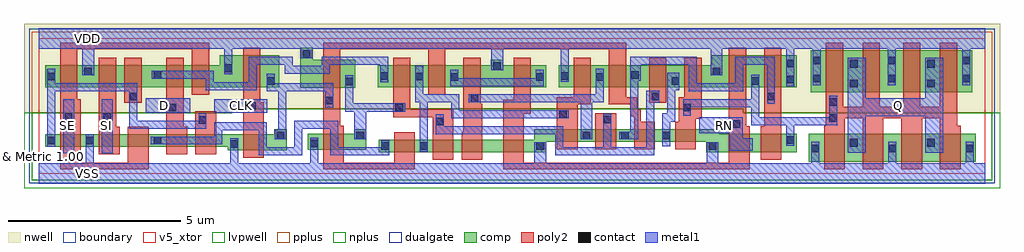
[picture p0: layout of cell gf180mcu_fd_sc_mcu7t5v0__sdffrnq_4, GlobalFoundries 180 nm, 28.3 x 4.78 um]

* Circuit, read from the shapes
.subckt gf180mcu_fd_sc_mcu7t5v0__sdffrnq_4 CLK D Q RN SE SI VDD VSS
XM1 VSS SE n1 VSUBS nfet_05v0 w=0.36u l=0.6u
XM2 n2 SI VSS VSUBS nfet_05v0 w=0.36u l=0.6u
XM3 n3 SE n2 VSUBS nfet_05v0 w=0.36u l=0.6u
XM4 n4 D n3 VSUBS nfet_05v0 w=0.36u l=0.6u
XM5 VSS n1 n4 VSUBS nfet_05v0 w=0.36u l=0.6u
XM6 n5 CLK VSS VSUBS nfet_05v0 w=0.465u l=0.6u
XM7 n6 n5 VSS VSUBS nfet_05v0 w=0.465u l=0.6u
XM8 n7 n5 n3 VSUBS nfet_05v0 w=0.36u l=0.6u
XM9 n8 n6 n7 VSUBS nfet_05v0 w=0.36u l=0.6u
XM10 n9 n10 n8 VSUBS nfet_05v0 w=0.36u l=0.6u
XM11 VSS RN n9 VSUBS nfet_05v0 w=0.36u l=0.6u
XM12 n10 n7 VSS VSUBS nfet_05v0 w=0.36u l=0.6u
XM13 n11 n6 n10 VSUBS nfet_05v0 w=0.36u l=0.6u
XM14 n12 n5 n11 VSUBS nfet_05v0 w=0.36u l=0.6u
XM15 VSS n13 n12 VSUBS nfet_05v0 w=0.36u l=0.6u
XM16 n14 RN VSS VSUBS nfet_05v0 w=0.54u l=0.6u
XM17 n13 n11 n14 VSUBS nfet_05v0 w=0.54u l=0.6u
XM18 Q n13 VSS VSUBS nfet_05v0 w=0.81u l=0.6u m=4
XM19 VDD SE n1 n15 pfet_05v0 w=0.63u l=0.5u
XM20 n16 SI VDD n15 pfet_05v0 w=0.63u l=0.5u
XM21 n17 n1 n16 n15 pfet_05v0 w=0.63u l=0.5u
XM22 n18 D n17 n15 pfet_05v0 w=0.63u l=0.5u
XM23 VDD SE n18 n15 pfet_05v0 w=0.63u l=0.5u
XM24 n5 CLK VDD n15 pfet_05v0 w=0.925u l=0.5u
XM25 n6 n5 VDD n15 pfet_05v0 w=0.815u l=0.5u
XM26 n7 n6 n17 n15 pfet_05v0 w=0.63u l=0.5u
XM27 n19 n5 n7 n15 pfet_05v0 w=0.63u l=0.5u
XM28 VDD n10 n19 n15 pfet_05v0 w=0.63u l=0.5u
XM29 n19 RN VDD n15 pfet_05v0 w=0.63u l=0.5u
XM30 n10 n7 VDD n15 pfet_05v0 w=0.63u l=0.5u
XM31 n11 n5 n10 n15 pfet_05v0 w=0.63u l=0.5u
XM32 n12 n6 n11 n15 pfet_05v0 w=0.63u l=0.5u
XM33 VDD n13 n12 n15 pfet_05v0 w=0.63u l=0.5u
XM34 n13 RN VDD n15 pfet_05v0 w=0.92u l=0.5u
XM35 VDD n11 n13 n15 pfet_05v0 w=0.92u l=0.5u
XM36 Q n13 VDD n15 pfet_05v0 w=1.215u l=0.5u m=4
.ends

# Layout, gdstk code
import gdstk
lib = gdstk.Library(unit=1e-6, precision=1e-09)
def R(c, l, rs):  # rectangles x0, y0, x1, y1
    for r in rs: c.add(gdstk.rectangle(r[:2], r[2:], *l))
def A(c, l, x, y, w, h, nx, ny, dx, dy):  # array of equal rectangles
    R(c, l, [(x+i*dx, y+j*dy, x+i*dx+w, y+j*dy+h) for i in range(nx) for j in range(ny)])
def P(c, l, *ps):  # polygons
    for p in ps: c.add(gdstk.Polygon(p, *l))
boundary = (0, 0)
nwell = (21, 0)
comp = (22, 0)
poly2 = (30, 0)
pplus = (31, 0)
nplus = (32, 0)
contact = (33, 0)
metal1 = (34, 0)
dualgate = (55, 0)
v5_xtor = (112, 1)
lvpwell = (204, 0)

gf180mcu_fd_sc_mcu7t5v0_ = lib.new_cell('gf180mcu_fd_sc_mcu7t5v0__sdffrnq_4')
R(gf180mcu_fd_sc_mcu7t5v0_, boundary, [(0,0,27.44,3.92)])
P(gf180mcu_fd_sc_mcu7t5v0_, nwell, [(-0.43,1.76),(-0.43,4.35),(27.87,4.35),(27.87,1.76),(20.425,1.76),(20.425,1.885),(5.605,1.885),(5.605,1.76)])
R(gf180mcu_fd_sc_mcu7t5v0_, comp, [(22.33,0.35,27.17,1.16), (22.38,2.36,27.07,3.575)])
P(gf180mcu_fd_sc_mcu7t5v0_, comp, [(0.18,2.51),(0.18,3.14),(5.24,3.14),(5.24,3.435),(6.965,3.435),(6.965,2.51)],
  [(5.485,0.675),(5.485,0.78),(0.18,0.78),(0.18,1.14),(6.825,1.14),(6.825,1.285),(7.185,1.285),(7.185,0.675)],
  [(7.58,2.485),(7.58,3.645),(7.94,3.645),(7.94,3.3),(9.18,3.3),(9.18,2.485)],
  [(7.8,0.695),(7.8,1.16),(9.14,1.16),(9.14,1.285),(9.5,1.285),(9.5,0.695)],
  [(9.83,2.51),(9.83,3.14),(13.11,3.14),(13.11,3.3),(13.47,3.3),(13.47,3.14),(14.71,3.14),(14.71,2.51)],
  [(9.86,0.62),(9.86,0.98),(14.36,0.98),(14.36,1.285),(19.71,1.285),(19.71,1.16),(21.97,1.16),(21.97,0.62),(19.35,0.62),(19.35,0.925),(14.72,0.925),(14.72,0.62)],
  [(15.07,2.51),(15.07,3.14),(19.515,3.14),(19.515,3.43),(21.97,3.43),(21.97,2.51)])
R(gf180mcu_fd_sc_mcu7t5v0_, poly2, [(4.54,0.56,5.14,1.805), (16.14,0.705,16.74,1.745), (2.48,2.05,2.98,3.36), (17.695,2.05,18.195,3.365)])
P(gf180mcu_fd_sc_mcu7t5v0_, poly2, [(1.74,0.56),(1.74,3.36),(2.24,3.36),(2.24,1.36),(2.34,1.36),(2.34,0.56)],
  [(3.7,0.56),(3.7,3.36),(4.2,3.36),(4.2,1.36),(4.3,1.36),(4.3,0.56)],
  [(0.62,0.12),(0.62,3.8),(4.94,3.8),(4.94,2.29),(4.44,2.29),(4.44,3.6),(1.12,3.6),(1.12,2.16),(1.22,2.16),(1.22,0.32),(2.58,0.32),(2.58,1.36),(3.18,1.36),(3.18,0.12)],
  [(5.925,0.455),(5.925,3.655),(6.425,3.655),(6.425,2.065),(6.525,2.065),(6.525,0.455)],
  [(11.42,0.4),(11.42,1.63),(10.27,1.63),(10.27,3.36),(10.77,3.36),(10.77,1.86),(12.02,1.86),(12.02,0.4)],
  [(12.26,0.4),(12.26,1.2),(12.31,1.2),(12.31,3.36),(12.81,3.36),(12.81,2.03),(12.86,2.03),(12.86,0.4)],
  [(15.02,0.705),(15.02,2.21),(15.51,2.21),(15.51,3.36),(16.01,3.36),(16.01,2.01),(15.62,2.01),(15.62,0.705)],
  [(8.24,0.12),(8.24,3.8),(17.03,3.8),(17.03,2.21),(17.345,2.21),(17.345,1.86),(17.46,1.86),(17.46,1.505),(17.86,1.505),(17.86,0.705),(17.26,0.705),(17.26,1.66),(17.145,1.66),(17.145,2.01),(16.53,2.01),(16.53,3.6),(11.79,3.6),(11.79,2.29),(11.29,2.29),(11.29,3.6),(8.74,3.6),(8.74,1.385),(8.84,1.385),(8.84,0.32),(10.3,0.32),(10.3,1.2),(10.9,1.2),(10.9,0.12)],
  [(18.45,0.705),(18.45,1.505),(18.55,1.505),(18.55,2.21),(18.715,2.21),(18.715,3.365),(19.215,3.365),(19.215,1.585),(19.05,1.585),(19.05,0.705)],
  [(13.46,0.12),(13.46,2.135),(13.77,2.135),(13.77,3.36),(14.27,3.36),(14.27,1.73),(14.06,1.73),(14.06,0.32),(20.01,0.32),(20.01,3.655),(20.51,3.655),(20.51,1.38),(20.61,1.38),(20.61,0.12)],
  [(20.93,0.4),(20.93,1.38),(21.03,1.38),(21.03,3.655),(21.53,3.655),(21.53,0.4)],
  [(22.77,0.13),(22.77,1.385),(22.82,1.385),(22.82,3.795),(23.32,3.795),(23.32,1.94),(23.89,1.94),(23.89,3.795),(24.39,3.795),(24.39,1.94),(25.06,1.94),(25.06,3.795),(25.56,3.795),(25.56,1.94),(26.13,1.94),(26.13,3.795),(26.63,3.795),(26.63,1.385),(26.73,1.385),(26.73,0.13),(26.13,0.13),(26.13,1.6),(25.61,1.6),(25.61,0.13),(25.01,0.13),(25.01,1.6),(24.49,1.6),(24.49,0.13),(23.89,0.13),(23.89,1.6),(23.37,1.6),(23.37,0.13)])
P(gf180mcu_fd_sc_mcu7t5v0_, pplus, [(-0.2,1.76),(-0.2,4.12),(27.64,4.12),(27.64,1.76),(20.425,1.76),(20.425,1.885),(5.605,1.885),(5.605,1.76)])
P(gf180mcu_fd_sc_mcu7t5v0_, nplus, [(-0.2,-0.2),(-0.2,1.76),(5.605,1.76),(5.605,1.885),(20.425,1.885),(20.425,1.76),(27.64,1.76),(27.64,-0.2)])
A(gf180mcu_fd_sc_mcu7t5v0_, contact, 22.4, 0.615, 0.22, 0.22, 3, 1, 2.24, 0)
A(gf180mcu_fd_sc_mcu7t5v0_, contact, 22.45, 2.65, 0.22, 0.22, 3, 2, 2.165, 0.525)
R(gf180mcu_fd_sc_mcu7t5v0_, contact, [(9.93,0.69,10.15,0.91), (11.05,0.69,11.27,0.91), (14.43,0.69,14.65,0.91), (19.42,0.69,19.64,0.91), (5.555,0.745,5.775,0.965), (7.87,0.765,8.09,0.985), (23.52,0.785,23.74,1.005), (25.76,0.785,25.98,1.005), (0.25,0.85,0.47,1.07), (1.37,0.85,1.59,1.07), (3.33,0.85,3.55,1.07), (21.68,0.87,21.9,1.09), (6.895,0.995,7.115,1.215), (9.21,0.995,9.43,1.215), (15.77,0.995,15.99,1.215), (16.89,0.995,17.11,1.215), (18.08,0.995,18.3,1.215), (20.12,1.33,20.34,1.55), (11.51,1.4,11.73,1.62), (4.635,1.45,4.855,1.67), (16.375,1.455,16.595,1.675), (22.92,1.5,23.14,1.72), (0.755,1.53,0.975,1.75), (1.875,1.53,2.095,1.75), (15.09,1.615,15.31,1.835), (3.77,1.81,3.99,2.03), (10.34,1.81,10.56,2.03), (18.685,1.81,18.905,2.03), (6.07,1.85,6.29,2.07), (22.92,1.97,23.14,2.19), (8.31,2.015,8.53,2.235), (12.52,2.075,12.74,2.295), (2.63,2.12,2.85,2.34), (17.765,2.12,17.985,2.34), (21.12,2.12,21.34,2.34), (23.52,2.505,23.74,2.725), (25.76,2.505,25.98,2.725), (8.89,2.565,9.11,2.785), (6.615,2.58,6.835,2.8), (18.345,2.58,18.565,2.8), (20.66,2.58,20.88,2.8), (21.68,2.615,21.9,2.835), (16.16,2.685,16.38,2.905), (11.94,2.695,12.16,2.915), (14.42,2.695,14.64,2.915), (0.25,2.7,0.47,2.92), (10.92,2.7,11.14,2.92), (9.9,2.72,10.12,2.94), (15.14,2.725,15.36,2.945), (3.33,2.75,3.55,2.97), (17.18,2.75,17.4,2.97), (1.32,2.85,1.54,3.07), (19.54,2.85,19.76,3.07), (5.38,2.945,5.6,3.165), (13.18,3.01,13.4,3.23), (23.52,3.075,23.74,3.295), (25.76,3.075,25.98,3.295), (21.68,3.085,21.9,3.305), (7.65,3.355,7.87,3.575)])
R(gf180mcu_fd_sc_mcu7t5v0_, metal1, [(0.705,0.595,1.03,2.15), (1.825,0.595,2.15,2.15), (3.095,1.765,4.39,2.19), (5.09,1.765,6.63,2.155)])
P(gf180mcu_fd_sc_mcu7t5v0_, metal1, [(0.245,0.78),(0.245,3.04),(0.475,3.04),(0.475,2.615),(2.855,2.615),(2.855,1.535),(4.63,1.535),(4.63,1.75),(4.86,1.75),(4.86,1.305),(2.625,1.305),(2.625,2.385),(0.475,2.385),(0.475,0.78)],
  [(6.835,0.99),(6.835,1.275),(6.945,1.275),(6.945,2.385),(6.61,2.385),(6.61,2.89),(6.84,2.89),(6.84,2.62),(8.535,2.62),(8.535,1.91),(8.305,1.91),(8.305,2.385),(7.175,2.385),(7.175,0.99)],
  [(4.845,2.42),(4.845,2.745),(3.27,2.745),(3.27,2.975),(5.075,2.975),(5.075,2.655),(6.085,2.655),(6.085,3.39),(7.36,3.39),(7.36,3.12),(8.205,3.12),(8.205,3.39),(10.125,3.39),(10.125,2.645),(9.895,2.645),(9.895,3.16),(8.435,3.16),(8.435,2.89),(7.13,2.89),(7.13,3.16),(6.315,3.16),(6.315,2.42)],
  [(6.375,0.53),(6.375,1.26),(5.32,1.26),(5.32,0.845),(3.25,0.845),(3.25,1.075),(5.09,1.075),(5.09,1.49),(6.605,1.49),(6.605,0.76),(7.405,0.76),(7.405,1.53),(8.68,1.53),(8.68,0.76),(9.925,0.76),(9.925,0.97),(10.155,0.97),(10.155,0.53),(8.45,0.53),(8.45,1.295),(7.635,1.295),(7.635,0.53)],
  [(9.15,0.99),(9.15,1.8),(8.885,1.8),(8.885,2.845),(9.115,2.845),(9.115,2.035),(10.62,2.035),(10.62,1.8),(9.49,1.8),(9.49,0.99)],
  [(11.935,2.53),(11.935,3.005),(12.165,3.005),(12.165,2.76),(14.415,2.76),(14.415,3.005),(14.645,3.005),(14.645,2.53)],
  [(11.045,0.63),(11.045,2.065),(10.915,2.065),(10.915,3.125),(11.145,3.125),(11.145,2.295),(12.195,2.295),(12.195,1.84),(15.37,1.84),(15.37,1.61),(11.965,1.61),(11.965,2.065),(11.275,2.065),(11.275,0.63)],
  [(15.71,0.99),(15.71,2.07),(12.46,2.07),(12.46,2.3),(16.155,2.3),(16.155,3.035),(16.385,3.035),(16.385,2.07),(16.05,2.07),(16.05,0.99)],
  [(14.98,0.53),(14.98,1.145),(11.505,1.145),(11.505,1.72),(11.735,1.72),(11.735,1.375),(15.21,1.375),(15.21,0.76),(16.37,0.76),(16.37,1.735),(16.6,1.735),(16.6,0.76),(17.615,0.76),(17.615,2.4),(17.99,2.4),(17.99,2.06),(17.845,2.06),(17.845,0.53)],
  [(18.075,0.79),(18.075,1.745),(18.22,1.745),(18.22,2.93),(18.57,2.93),(18.57,2.42),(18.45,2.42),(18.45,1.51),(18.305,1.51),(18.305,0.79)],
  [(20.035,0.665),(20.035,1.17),(19.155,1.17),(19.155,1.635),(20.41,1.635),(20.41,1.02),(20.7,1.02),(20.7,0.665)],
  [(16.83,0.99),(16.83,1.22),(17.155,1.22),(17.155,3.39),(19.075,3.39),(19.075,2.615),(20.195,2.615),(20.195,3.39),(21.345,3.39),(21.345,2.03),(21.115,2.03),(21.115,3.155),(20.425,3.155),(20.425,2.385),(18.845,2.385),(18.845,3.16),(17.46,3.16),(17.46,2.69),(17.385,2.69),(17.385,0.99)],
  [(21.675,0.81),(21.675,1.405),(20.655,1.405),(20.655,1.925),(18.91,1.925),(18.91,1.68),(18.68,1.68),(18.68,2.155),(20.655,2.155),(20.655,2.86),(20.885,2.86),(20.885,1.635),(22.915,1.635),(22.915,2.25),(23.145,2.25),(23.145,1.405),(21.905,1.405),(21.905,0.81)],
  [(23.46,0.6),(23.46,3.36),(23.98,3.36),(23.98,2.18),(25.7,2.18),(25.7,3.36),(26.22,3.36),(26.22,0.6),(25.7,0.6),(25.7,1.66),(23.98,1.66),(23.98,0.6)],
  [(0,-0.3),(0,0.3),(1.365,0.3),(1.365,1.14),(1.595,1.14),(1.595,0.3),(5.55,0.3),(5.55,1.025),(5.78,1.025),(5.78,0.3),(7.865,0.3),(7.865,1.045),(8.095,1.045),(8.095,0.3),(14.37,0.3),(14.37,0.915),(14.71,0.915),(14.71,0.3),(19.36,0.3),(19.36,0.915),(19.7,0.915),(19.7,0.3),(22.395,0.3),(22.395,0.925),(22.625,0.925),(22.625,0.3),(24.635,0.3),(24.635,0.925),(24.865,0.925),(24.865,0.3),(26.875,0.3),(26.875,0.925),(27.105,0.925),(27.105,0.3),(27.44,0.3),(27.44,-0.3)],
  [(21.675,2.535),(21.675,3.62),(19.82,3.62),(19.82,2.845),(19.48,2.845),(19.48,3.62),(15.365,3.62),(15.365,2.665),(15.135,2.665),(15.135,3.62),(13.46,3.62),(13.46,3),(13.12,3),(13.12,3.62),(7.93,3.62),(7.93,3.35),(7.59,3.35),(7.59,3.62),(5.605,3.62),(5.605,2.885),(5.375,2.885),(5.375,3.62),(1.6,3.62),(1.6,2.845),(1.26,2.845),(1.26,3.62),(0,3.62),(0,4.22),(27.44,4.22),(27.44,3.62),(27.005,3.62),(27.005,2.56),(26.775,2.56),(26.775,3.62),(24.84,3.62),(24.84,2.56),(24.61,2.56),(24.61,3.62),(22.675,3.62),(22.675,2.56),(22.445,2.56),(22.445,3.62),(21.905,3.62),(21.905,2.535)])
R(gf180mcu_fd_sc_mcu7t5v0_, dualgate, [(-0.28,-0.28,27.72,4.2)])
R(gf180mcu_fd_sc_mcu7t5v0_, v5_xtor, [(0,0,27.44,3.92)])
P(gf180mcu_fd_sc_mcu7t5v0_, lvpwell, [(-0.43,-0.43),(-0.43,1.76),(5.605,1.76),(5.605,1.885),(20.425,1.885),(20.425,1.76),(27.87,1.76),(27.87,-0.43)])
gf180mcu_fd_sc_mcu7t5v0_.add(gdstk.Label('Q', (24.92,1.96), layer=34, texttype=10))
gf180mcu_fd_sc_mcu7t5v0_.add(gdstk.Label('RN', (19.88,1.4), layer=34, texttype=10))
gf180mcu_fd_sc_mcu7t5v0_.add(gdstk.Label('SE', (0.84,1.4), layer=34, texttype=10))
gf180mcu_fd_sc_mcu7t5v0_.add(gdstk.Label('SI', (1.96,1.4), layer=34, texttype=10))
gf180mcu_fd_sc_mcu7t5v0_.add(gdstk.Label('VDD', (1.4,3.92), layer=34, texttype=10))
gf180mcu_fd_sc_mcu7t5v0_.add(gdstk.Label('VSS', (1.4,0), layer=34, texttype=10))
gf180mcu_fd_sc_mcu7t5v0_.add(gdstk.Label('CLK', (5.88,1.96), layer=34, texttype=10))
gf180mcu_fd_sc_mcu7t5v0_.add(gdstk.Label('D', (3.64,1.96), layer=34, texttype=10))
gf180mcu_fd_sc_mcu7t5v0_.add(gdstk.Label('& Vendor GLOBALFOUNDRIES', (0,2), layer=63, texttype=63))
gf180mcu_fd_sc_mcu7t5v0_.add(gdstk.Label('& Product GF018hv5v_mcu_sc7', (0,1.5), layer=63, texttype=63))
gf180mcu_fd_sc_mcu7t5v0_.add(gdstk.Label('& Version 2015q2v1', (0,1), layer=63, texttype=63))
gf180mcu_fd_sc_mcu7t5v0_.add(gdstk.Label('& Metric 1.00', (0,0.5), layer=63, texttype=63))

lib.write_gds('gf180mcu_fd_sc_mcu7t5v0__sdffrnq_4.gds')
